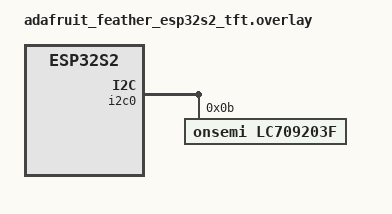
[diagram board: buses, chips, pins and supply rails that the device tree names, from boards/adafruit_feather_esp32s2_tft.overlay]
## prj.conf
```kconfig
CONFIG_FUEL_GAUGE=y
CONFIG_I2C=y
CONFIG_LOG=y
```

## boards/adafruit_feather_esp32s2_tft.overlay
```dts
&i2c0 {
	lc709203f: lc709203f@0b {
		compatible = "onsemi,lc709203f";
		status = "okay";
		reg = <0x0b>;
		power-domains = <&i2c_reg>;
	};
};
```

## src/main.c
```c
/*
 * Copyright (c) 2023 Alvaro Garcia Gomez <maxpowel@gmail.com>
 *
 * SPDX-License-Identifier: Apache-2.0
 */

#include "zephyr/sys/util.h"
#include <zephyr/kernel.h>
#include <zephyr/device.h>
#include <zephyr/devicetree.h>
#include <zephyr/drivers/fuel_gauge.h>

#define LOG_LEVEL CONFIG_LOG_DEFAULT_LEVEL
#include <zephyr/logging/log.h>
LOG_MODULE_REGISTER(app);

int main(void)
{
	const struct device *const dev = DEVICE_DT_GET_ANY(onsemi_lc709203f);
	int ret = 0;

	if (dev == NULL) {
		LOG_ERR("no device found.");
		return 0;
	}

	if (!device_is_ready(dev)) {
		LOG_ERR("Error: Device \"%s\" is not ready; check the driver initialization logs "
			"for errors.",
			dev->name);
		return 0;
	}

	LOG_INF("Found device \"%s\", getting fuel gauge data", dev->name);

	if (dev == NULL) {
		return 0;
	}

	while (1) {

		fuel_gauge_prop_t props[] = {
			FUEL_GAUGE_RELATIVE_STATE_OF_CHARGE,
			FUEL_GAUGE_VOLTAGE,
		};

		union fuel_gauge_prop_val vals[ARRAY_SIZE(props)];

		ret = fuel_gauge_get_props(dev, props, vals, ARRAY_SIZE(props));

		if (ret < 0) {
			LOG_ERR("Error: cannot get properties");
		} else {
			LOG_INF("Fuel gauge data: Charge: %d%%, Voltage: %dmV",
				vals[0].relative_state_of_charge, vals[1].voltage / 1000);
		}

		k_sleep(K_MSEC(5000));
	}
	return 0;
}
```
